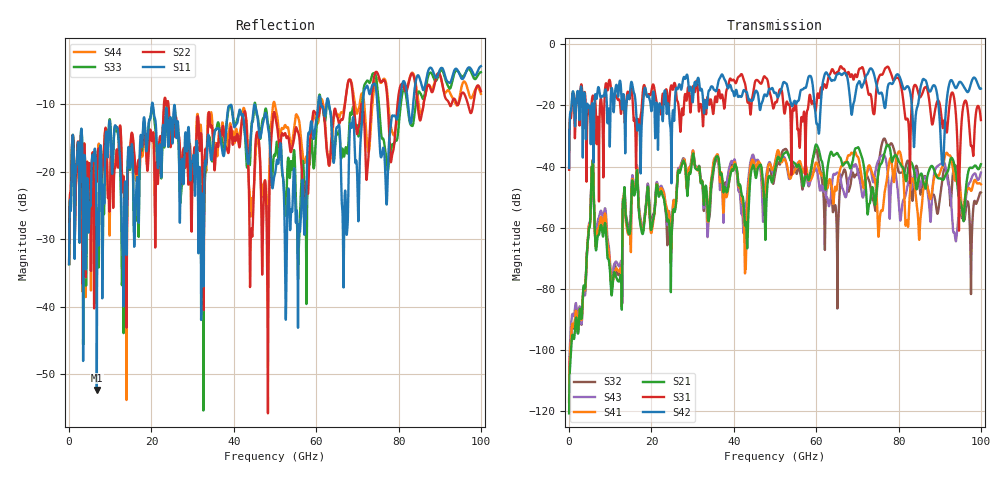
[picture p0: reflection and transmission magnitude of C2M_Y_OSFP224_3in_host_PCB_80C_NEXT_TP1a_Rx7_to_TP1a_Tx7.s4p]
# GHz S RI R 45
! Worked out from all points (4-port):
!   4000 points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, 25 MHz to 100 GHz, reference 45 ohm
!   strongest paths, dB at 25 MHz, 25.02 GHz, 50.02 GHz, 75.03 GHz, 100 GHz:
!     S42: -40.5, -26.4, -15.9, -15.6, -14.6
!     S31: -41.1, -14.1, -19.2, -11.7, -24.8
!     S21: -120.6, -59.1, -40.8, -42.9, -39.3
!     S41: -116.7, -57.3, -38.7, -60.4, -45.8
!     S43: -113.5, -57.0, -38.7, -38.3, -42.0
!     S32: -116.9, -59.3, -42.5, -42.5, -48.5
!   lowest |S11| = -52.3 dB at 6.75 GHz (marker M1), VSWR 1.00, Z = 44.8 + j0.0162 ohm
!   |S11| at or under -10 dB: start of sweep to 20.12 GHz; 20.35 GHz to 60.51 GHz (40.17 GHz wide, 99.3 % of centre); 63.1 GHz to 71.35 GHz (8.254 GHz wide, 12.3 % of centre) (the widest 3 of 6)
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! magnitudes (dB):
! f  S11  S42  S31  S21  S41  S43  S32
! 25 MHz  -33.7  -40.5  -41.1  -120.6  -116.7  -113.5  -116.9
! 6.75 GHz  -52.3  -17.6  -31.7  -65.3  -63.3  -60.7  -63.0
! 30.05 GHz  -18.1  -18.9  -14.2  -36.1  -34.9  -34.8  -35.9
! 42.75 GHz  -14.8  -15.4  -13.0  -59.2  -74.7  -52.3  -53.6
! 50.7 GHz  -18.6  -17.4  -17.3  -37.0  -34.7  -35.3  -38.7
! 90.67 GHz  -4.7  -39.4  -27.1  -44.4  -40.1  -38.6  -43.8
! 100 GHz  -4.4  -14.6  -24.8  -39.3  -45.8  -42.0  -48.5
